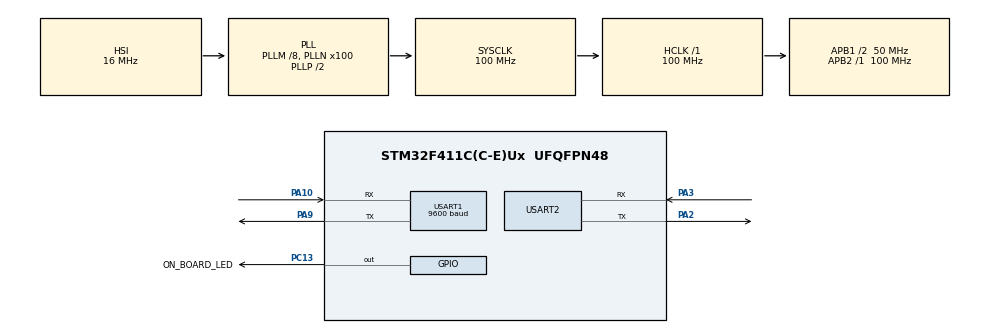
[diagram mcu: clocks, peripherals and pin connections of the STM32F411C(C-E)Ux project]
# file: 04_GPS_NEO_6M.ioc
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Mcu.Family=STM32F4
Mcu.Name=STM32F411C(C-E)Ux
Mcu.Package=UFQFPN48
NVIC.PriorityGroup=NVIC_PRIORITYGROUP_4
NVIC.TIM1_UP_TIM10_IRQn=true\:0\:0\:false\:false\:true\:true\:true\:true
NVIC.USART1_IRQn=true\:0\:0\:false\:false\:true\:true\:true\:true
NVIC.USART2_IRQn=true\:0\:0\:false\:false\:true\:true\:true\:true
PA10.Mode=Asynchronous
PA10.Signal=USART1_RX
PA13.Mode=Serial_Wire
PA13.Signal=SYS_JTMS-SWDIO
PA14.Mode=Serial_Wire
PA14.Signal=SYS_JTCK-SWCLK
PA2.Mode=Asynchronous
PA2.Signal=USART2_TX
PA3.Mode=Asynchronous
PA3.Signal=USART2_RX
PA9.Mode=Asynchronous
PA9.Signal=USART1_TX
PC13-ANTI_TAMP.GPIO_Label=ON_BOARD_LED
PC13-ANTI_TAMP.Signal=GPIO_Output
PC14-OSC32_IN.Mode=LSE-External-Oscillator
PC14-OSC32_IN.Signal=RCC_OSC32_IN
PC15-OSC32_OUT.Mode=LSE-External-Oscillator
PC15-OSC32_OUT.Signal=RCC_OSC32_OUT
PH0\ -\ OSC_IN.Mode=HSE-External-Oscillator
PH0\ -\ OSC_IN.Signal=RCC_OSC_IN
PH1\ -\ OSC_OUT.Mode=HSE-External-Oscillator
PH1\ -\ OSC_OUT.Signal=RCC_OSC_OUT
ProjectManager.HeapSize=0x200
ProjectManager.StackSize=0x400
ProjectManager.TargetToolchain=STM32CubeIDE
RCC.48MHZClocksFreq_Value=50000000
RCC.AHBFreq_Value=100000000
RCC.APB1CLKDivider=RCC_HCLK_DIV2
RCC.APB1Freq_Value=50000000
RCC.APB1TimFreq_Value=100000000
RCC.APB2Freq_Value=100000000
RCC.APB2TimFreq_Value=100000000
RCC.CortexFreq_Value=100000000
RCC.HCLKFreq_Value=100000000
RCC.HSE_VALUE=25000000
RCC.HSI_VALUE=16000000
RCC.PLLM=8
RCC.PLLN=100
RCC.SYSCLKFreq_VALUE=100000000
RCC.SYSCLKSource=RCC_SYSCLKSOURCE_PLLCLK
RCC.VCOOutputFreq_Value=200000000
TIM1.Period=49999
TIM1.Prescaler=1
USART1.BaudRate=9600
USART1.VirtualMode=VM_ASYNC
USART2.VirtualMode=VM_ASYNC
VP_TIM1_VS_ClockSourceINT.Mode=Internal
board=custom

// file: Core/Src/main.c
/* USER CODE BEGIN Header */
/**
  ******************************************************************************
  * @file           : main.c
  * @brief          : Main program body
  ******************************************************************************
  * @attention
  *
  * Copyright (c) 2025 STMicroelectronics.
  * All rights reserved.
  *
  * This software is licensed under terms that can be found in the LICENSE file
  * in the root directory of this software component.
  * If no LICENSE file comes with this software, it is provided AS-IS.
  *
  ******************************************************************************
  */
/* USER CODE END Header */
#include "main.h"

/* USER CODE BEGIN Includes */
#include "string.h"
#include "stdbool.h"
#include "neo_6m_gps_parser.h"
/* USER CODE END Includes */

TIM_HandleTypeDef htim1;

UART_HandleTypeDef huart1;
UART_HandleTypeDef huart2;

/* USER CODE BEGIN PV */
uint8_t neo_6m_gps_rx_buffer[500];
bool gps_data_flag;

extern uint8_t neo_6m_gps_data[500];
extern uint16_t size;
extern char send_str[200];
/* USER CODE END PV */

void SystemClock_Config(void);
static void MX_GPIO_Init(void);
static void MX_TIM1_Init(void);
static void MX_USART1_UART_Init(void);
static void MX_USART2_UART_Init(void);
/* USER CODE BEGIN PFP */
void HAL_UARTEx_RxEventCallback(UART_HandleTypeDef *huart, uint16_t Size);
/* USER CODE END PFP */

int main(void)
{

  /* MCU Configuration--------------------------------------------------------*/

  /* Reset of all peripherals, Initializes the Flash interface and the Systick. */
	HAL_Init();

  /* Configure the system clock */
  SystemClock_Config();

  /* Initialize all configured peripherals */
  MX_GPIO_Init();
  MX_TIM1_Init();
  MX_USART1_UART_Init();
  MX_USART2_UART_Init();
  /* USER CODE BEGIN 2 */
  HAL_UARTEx_ReceiveToIdle_IT(&huart1, neo_6m_gps_rx_buffer, sizeof(neo_6m_gps_rx_buffer));
  /* USER CODE END 2 */

  /* Infinite loop */
  while (1)
  {

    /* USER CODE BEGIN 3 */
	  NMEA_parser();
  }
  /* USER CODE END 3 */
}

void SystemClock_Config(void)
{
  RCC_OscInitTypeDef RCC_OscInitStruct = {0};
  RCC_ClkInitTypeDef RCC_ClkInitStruct = {0};

  /** Configure the main internal regulator output voltage
  */
  __HAL_RCC_PWR_CLK_ENABLE();
  __HAL_PWR_VOLTAGESCALING_CONFIG(PWR_REGULATOR_VOLTAGE_SCALE1);

  /** Initializes the RCC Oscillators according to the specified parameters
  * in the RCC_OscInitTypeDef structure.
  */
  RCC_OscInitStruct.OscillatorType = RCC_OSCILLATORTYPE_HSI;
  RCC_OscInitStruct.HSIState = RCC_HSI_ON;
  RCC_OscInitStruct.HSICalibrationValue = RCC_HSICALIBRATION_DEFAULT;
  RCC_OscInitStruct.PLL.PLLState = RCC_PLL_ON;
  RCC_OscInitStruct.PLL.PLLSource = RCC_PLLSOURCE_HSI;
  RCC_OscInitStruct.PLL.PLLM = 8;
  RCC_OscInitStruct.PLL.PLLN = 100;
  RCC_OscInitStruct.PLL.PLLP = RCC_PLLP_DIV2;
  RCC_OscInitStruct.PLL.PLLQ = 4;
  if (HAL_RCC_OscConfig(&RCC_OscInitStruct) != HAL_OK)
  {
    Error_Handler();
  }

  /** Initializes the CPU, AHB and APB buses clocks
  */
  RCC_ClkInitStruct.ClockType = RCC_CLOCKTYPE_HCLK|RCC_CLOCKTYPE_SYSCLK
                              |RCC_CLOCKTYPE_PCLK1|RCC_CLOCKTYPE_PCLK2;
  RCC_ClkInitStruct.SYSCLKSource = RCC_SYSCLKSOURCE_PLLCLK;
  RCC_ClkInitStruct.AHBCLKDivider = RCC_SYSCLK_DIV1;
  RCC_ClkInitStruct.APB1CLKDivider = RCC_HCLK_DIV2;
  RCC_ClkInitStruct.APB2CLKDivider = RCC_HCLK_DIV1;

  if (HAL_RCC_ClockConfig(&RCC_ClkInitStruct, FLASH_LATENCY_3) != HAL_OK)
  {
    Error_Handler();
  }
}

static void MX_TIM1_Init(void)
{

  TIM_ClockConfigTypeDef sClockSourceConfig = {0};
  TIM_MasterConfigTypeDef sMasterConfig = {0};

  htim1.Instance = TIM1;
  htim1.Init.Prescaler = 1;
  htim1.Init.CounterMode = TIM_COUNTERMODE_UP;
  htim1.Init.Period = 49999;
  htim1.Init.ClockDivision = TIM_CLOCKDIVISION_DIV1;
  htim1.Init.RepetitionCounter = 0;
  htim1.Init.AutoReloadPreload = TIM_AUTORELOAD_PRELOAD_DISABLE;
  if (HAL_TIM_Base_Init(&htim1) != HAL_OK)
  {
    Error_Handler();
  }
  sClockSourceConfig.ClockSource = TIM_CLOCKSOURCE_INTERNAL;
  if (HAL_TIM_ConfigClockSource(&htim1, &sClockSourceConfig) != HAL_OK)
  {
    Error_Handler();
  }
  sMasterConfig.MasterOutputTrigger = TIM_TRGO_RESET;
  sMasterConfig.MasterSlaveMode = TIM_MASTERSLAVEMODE_DISABLE;
  if (HAL_TIMEx_MasterConfigSynchronization(&htim1, &sMasterConfig) != HAL_OK)
  {
    Error_Handler();
  }

}

static void MX_USART1_UART_Init(void)
{

  huart1.Instance = USART1;
  huart1.Init.BaudRate = 9600;
  huart1.Init.WordLength = UART_WORDLENGTH_8B;
  huart1.Init.StopBits = UART_STOPBITS_1;
  huart1.Init.Parity = UART_PARITY_NONE;
  huart1.Init.Mode = UART_MODE_TX_RX;
  huart1.Init.HwFlowCtl = UART_HWCONTROL_NONE;
  huart1.Init.OverSampling = UART_OVERSAMPLING_16;
  if (HAL_UART_Init(&huart1) != HAL_OK)
  {
    Error_Handler();
  }

}

static void MX_USART2_UART_Init(void)
{

  huart2.Instance = USART2;
  huart2.Init.BaudRate = 115200;
  huart2.Init.WordLength = UART_WORDLENGTH_8B;
  huart2.Init.StopBits = UART_STOPBITS_1;
  huart2.Init.Parity = UART_PARITY_NONE;
  huart2.Init.Mode = UART_MODE_TX_RX;
  huart2.Init.HwFlowCtl = UART_HWCONTROL_NONE;
  huart2.Init.OverSampling = UART_OVERSAMPLING_16;
  if (HAL_UART_Init(&huart2) != HAL_OK)
  {
    Error_Handler();
  }

}

static void MX_GPIO_Init(void)
{
  GPIO_InitTypeDef GPIO_InitStruct = {0};

  /* GPIO Ports Clock Enable */
  __HAL_RCC_GPIOC_CLK_ENABLE();
  __HAL_RCC_GPIOH_CLK_ENABLE();
  __HAL_RCC_GPIOA_CLK_ENABLE();

  /*Configure GPIO pin Output Level */
  HAL_GPIO_WritePin(ON_BOARD_LED_GPIO_Port, ON_BOARD_LED_Pin, GPIO_PIN_RESET);

  /*Configure GPIO pin : ON_BOARD_LED_Pin */
  GPIO_InitStruct.Pin = ON_BOARD_LED_Pin;
  GPIO_InitStruct.Mode = GPIO_MODE_OUTPUT_PP;
  GPIO_InitStruct.Pull = GPIO_NOPULL;
  GPIO_InitStruct.Speed = GPIO_SPEED_FREQ_LOW;
  HAL_GPIO_Init(ON_BOARD_LED_GPIO_Port, &GPIO_InitStruct);

}

/* USER CODE BEGIN 4 */
void HAL_UARTEx_RxEventCallback(UART_HandleTypeDef *huart, uint16_t Size)
{
	if(huart->Instance == huart1.Instance)
	{
		gps_data_flag = true;
		memcpy(neo_6m_gps_data, neo_6m_gps_rx_buffer, Size);
		memset(neo_6m_gps_rx_buffer, 0, Size);
		HAL_UARTEx_ReceiveToIdle_IT(&huart1, neo_6m_gps_rx_buffer, sizeof(neo_6m_gps_rx_buffer));
	}
	if(huart->Instance == USART2)
	{
		memset(send_str, 0 , sizeof(send_str));
	}

}
/* USER CODE END 4 */

void Error_Handler(void)
{
  __disable_irq();
  while (1)
  {
  }
}
